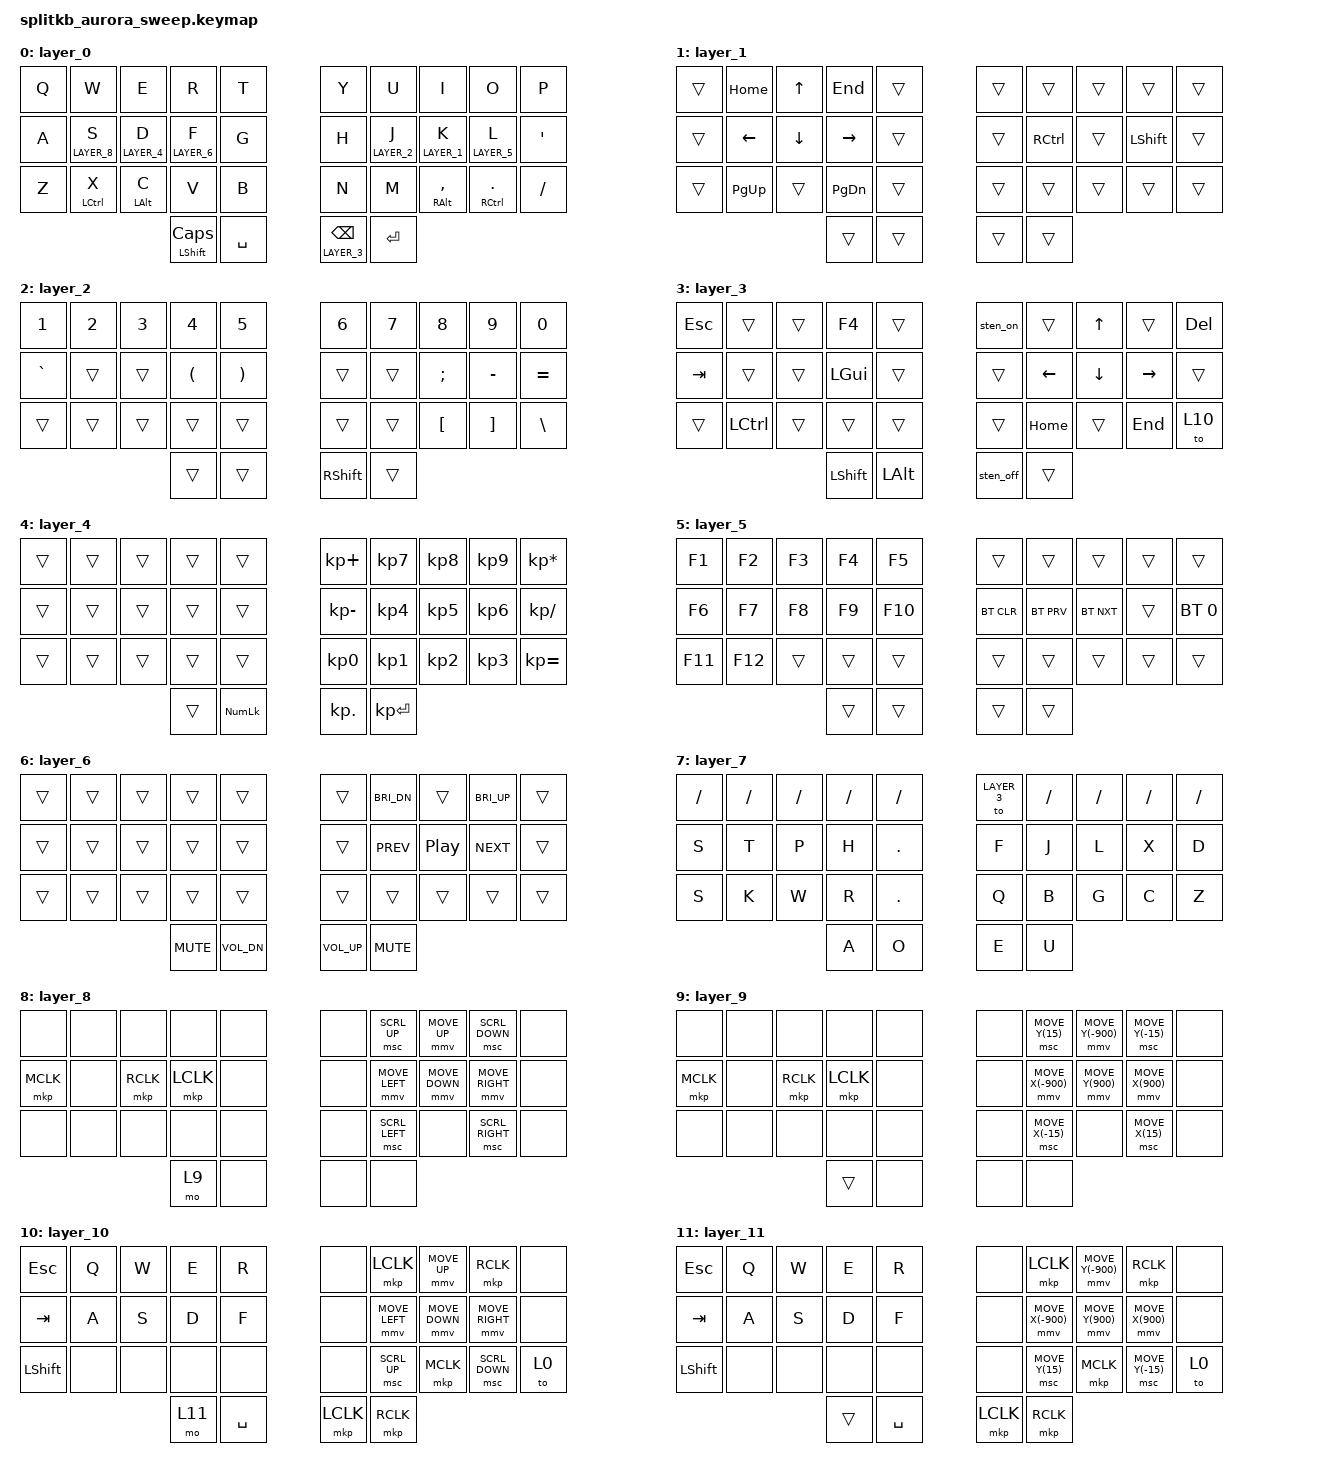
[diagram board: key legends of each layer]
/*
 * ZMK Keymap — exported from editor
 * SPDX-License-Identifier: MIT
 */

#include <behaviors.dtsi>
#include <dt-bindings/zmk/keys.h>
#include <dt-bindings/zmk/bt.h>
#include <dt-bindings/zmk/pointing.h>

#define LAYER_0 0
#define LAYER_1 1
#define LAYER_2 2
#define LAYER_3 3
#define LAYER_4 4
#define LAYER_5 5
#define LAYER_6 6
#define LAYER_7 7
#define LAYER_8 8
#define LAYER_9 9
#define LAYER_10 10
#define LAYER_11 11

&mt {
  //  flavor = "tap-preferred";
   // tapping_term_ms = <200>;
};

/ {
macros {
	sten_on: sten_on {
	compatible = "zmk,behavior-macro";
	label = "STEN_ON";
	#binding-cells = <0>;
	bindings = <&macro_tap &to LAYER_7>
		, <&macro_press &kp P &kp H &kp R &kp O &kp L &kp G>
		, <&macro_release &kp P &kp H &kp R &kp O &kp L &kp G>;
        };
    };
};

/ {
macros {
	sten_off: sten_off {
	compatible = "zmk,behavior-macro";
	label = "STEN_OFF";
	#binding-cells = <0>;
	bindings = <&macro_tap &to LAYER_0>
		, <&macro_press &kp P &kp H &kp R &kp O &kp L &kp G>
		, <&macro_release &kp P &kp H &kp R &kp O &kp L &kp G>;
        };
    };
};

/ { 
behaviors {

		ldt: layer_double_tap {
			compatible = "zmk,behavior-hold-tap";
			label = "LAYER_DOUBLE_TAP";
			#binding-cells = <2>;
			tapping-term-ms = <200>;
			quick-tap-ms = <175>;
			flavor = "tap-preferred";
			bindings = <&mo>, <&kp>;
		};
	};
	
    keymap {
        compatible = "zmk,keymap";

        layer_0 { /* Base */
            bindings = <
                &kp Q &kp W &kp E &kp R &kp T    &kp Y &kp U &kp I &kp O &kp P
                &kp A &ldt LAYER_8 S &ldt LAYER_4 D &ldt LAYER_6 F &kp G    &kp H &ldt LAYER_2 J &ldt LAYER_1 K &ldt LAYER_5 L &kp QUOT
                &kp Z &mt LCTRL X &mt LALT C &kp V &kp B    &kp N &kp M &mt RALT COMMA &mt RCTRL DOT &kp SLASH
                    &mt LSHIFT CAPS &kp SPACE    &ldt LAYER_3 BSPC &kp ENTER
            >;
        };

        layer_1 { /* Nav */
            bindings = <
                &trans &kp HOME &kp UP &kp END &trans    &trans &trans &trans &trans &trans
                &trans &kp LEFT &kp DOWN &kp RIGHT &trans    &trans &kp RCTRL &trans &kp LSHIFT &trans
                &trans &kp PG_UP &trans &kp PG_DN &trans    &trans &trans &trans &trans &trans
                    &trans &trans    &trans &trans
            >;
        };

        layer_2 { /* Sym */
            bindings = <
                &kp N1 &kp N2 &kp N3 &kp N4 &kp N5    &kp N6 &kp N7 &kp N8 &kp N9 &kp N0
                &kp GRAVE &trans &trans &kp LPAR &kp RPAR    &trans &trans &kp SEMI &kp MINUS &kp EQUAL
                &trans &trans &trans &trans &trans    &trans &trans &kp LBKT &kp RBKT &kp BSLH
                    &trans &trans    &kp RSHIFT &trans
            >;
        };

        layer_3 { /* Util */
            bindings = <
                &kp ESC &trans &trans &kp F4 &trans    &sten_on &trans &kp UP &trans &kp DEL
                &kp TAB &trans &trans &kp LGUI &trans    &trans &kp LEFT &kp DOWN &kp RIGHT &trans
                &trans &kp LCTRL &trans &trans &trans    &trans &kp HOME &trans &kp END &to 10
                    &kp LSHIFT &kp LALT    &sten_off &trans
            >;
        };

        layer_4 { /* Numpad */
            bindings = <
                &trans &trans &trans &trans &trans    &kp KP_PLUS &kp KP_N7 &kp KP_N8 &kp KP_N9 &kp KP_MULTIPLY
                &trans &trans &trans &trans &trans    &kp KP_MINUS &kp KP_N4 &kp KP_N5 &kp KP_N6 &kp KP_DIVIDE
                &trans &trans &trans &trans &trans    &kp KP_N0 &kp KP_N1 &kp KP_N2 &kp KP_N3 &kp KP_EQUAL
                    &trans &kp KP_NUM    &kp KP_DOT &kp KP_ENTER
            >;
        };

        layer_5 { /* Fn/BT */
            bindings = <
                &kp F1 &kp F2 &kp F3 &kp F4 &kp F5    &trans &trans &trans &trans &trans
                &kp F6 &kp F7 &kp F8 &kp F9 &kp F10    &bt BT_CLR &bt BT_PRV &bt BT_NXT &trans &bt BT_SEL 0
                &kp F11 &kp F12 &trans &trans &trans    &trans &trans &trans &trans &trans
                    &trans &trans    &trans &trans
            >;
        };

        layer_6 { /* Media */
            bindings = <
                &trans &trans &trans &trans &trans    &trans &kp C_BRI_DN &trans &kp C_BRI_UP &trans
                &trans &trans &trans &trans &trans    &trans &kp C_PREV &kp C_PP &kp C_NEXT &trans
                &trans &trans &trans &trans &trans    &trans &trans &trans &trans &trans
                    &kp C_MUTE &kp C_VOL_DN    &kp C_VOL_UP &kp C_MUTE
            >;
        };

        layer_7 { /* Steno */
            bindings = <
                &kp SLASH &kp SLASH &kp SLASH &kp SLASH &kp SLASH    &to LAYER_3 &kp SLASH &kp SLASH &kp SLASH &kp SLASH
                &kp S &kp T &kp P &kp H &kp DOT    &kp F &kp J &kp L &kp X &kp D
                &kp S &kp K &kp W &kp R &kp DOT    &kp Q &kp B &kp G &kp C &kp Z
                    &kp A &kp O    &kp E &kp U
            >;
        };

        layer_8 { /* MseMvmnt */
            bindings = <
                &none &none &none &none &none    &none &msc SCRL_UP &mmv MOVE_UP &msc SCRL_DOWN &none
                &mkp MCLK &none &mkp RCLK &mkp LCLK &none    &none &mmv MOVE_LEFT &mmv MOVE_DOWN &mmv MOVE_RIGHT &none
                &none &none &none &none &none    &none &msc SCRL_LEFT &none &msc SCRL_RIGHT &none
                    &mo 9 &none    &none &none
            >;
        };

        layer_9 { /* MseMvmnt Fast */
            bindings = <
                &none &none &none &none &none    &none &msc MOVE_Y(15) &mmv MOVE_Y(-900) &msc MOVE_Y(-15) &none
                &mkp MCLK &none &mkp RCLK &mkp LCLK &none    &none &mmv MOVE_X(-900) &mmv MOVE_Y(900) &mmv MOVE_X(900) &none
                &none &none &none &none &none    &none &msc MOVE_X(-15) &none &msc MOVE_X(15) &none
                    &trans &none    &none &none
            >;
        };

        layer_10 { /* Gaming */
            bindings = <
                &kp ESC &kp Q &kp W &kp E &kp R    &none &mkp LCLK &mmv MOVE_UP &mkp RCLK &none
                &kp TAB &kp A &kp S &kp D &kp F    &none &mmv MOVE_LEFT &mmv MOVE_DOWN &mmv MOVE_RIGHT &none
                &kp LSHIFT &none &none &none &none    &none &msc SCRL_UP &mkp MCLK &msc SCRL_DOWN &to 0
                    &mo 11 &kp SPACE    &mkp LCLK &mkp RCLK
            >;
        };

        layer_11 { /* Gaming Fast */
            bindings = <
                &kp ESC &kp Q &kp W &kp E &kp R    &none &mkp LCLK &mmv MOVE_Y(-900) &mkp RCLK &none
                &kp TAB &kp A &kp S &kp D &kp F    &none &mmv MOVE_X(-900) &mmv MOVE_Y(900) &mmv MOVE_X(900) &none
                &kp LSHIFT &none &none &none &none    &none &msc MOVE_Y(15) &mkp MCLK &msc MOVE_Y(-15) &to 0
                    &trans &kp SPACE    &mkp LCLK &mkp RCLK
            >;
        };

    };
};
